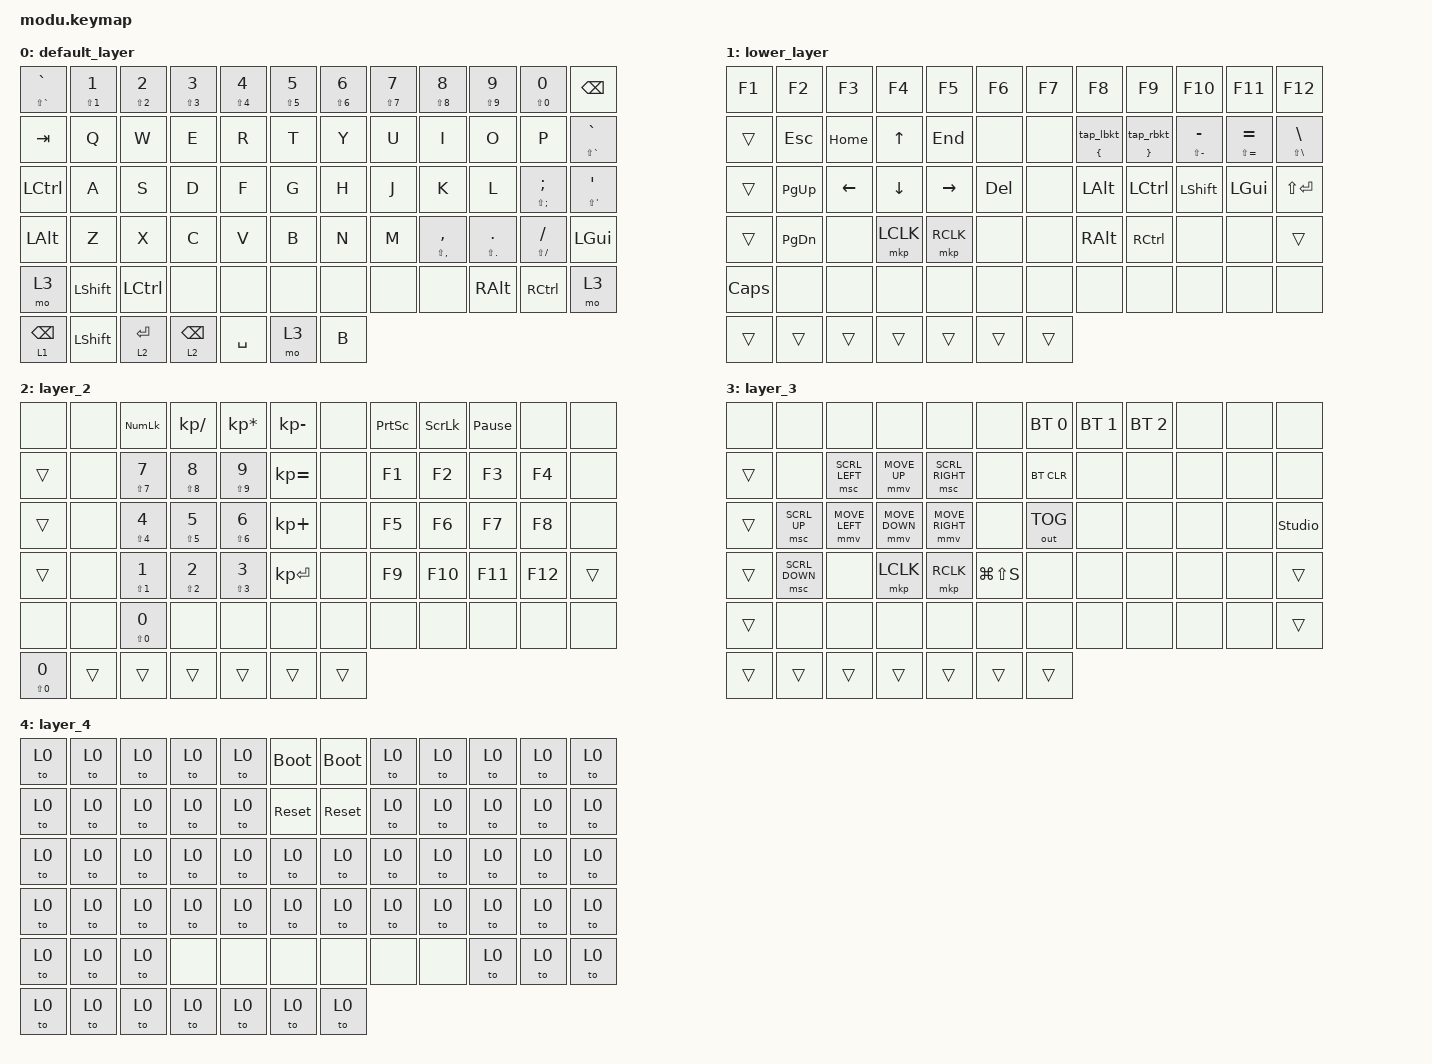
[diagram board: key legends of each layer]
/*
 * Copyright (c) 2026 EKS Inc.
 * Created by Ryu.
 * SPDX-License-Identifier: LicenseRef-EKS-NonCommercial-1.0
 *
 * Unofficial modification, based on upstream commit
 * bee0bb4b812f63f279eb67e928accc89600b5904 and customized through
 * Keymap Editor for GitHub Actions builds.
 */

/*
 ERT-Kim custom keymap
 layer 4 enterance --> upper_left + upper_right at layer 3
 Bootloader --> 5(left)/6(right) at layer 4
 Reset --> T(left)/Y(right) at layer 4
*/

#include <behaviors.dtsi>
#include <dt-bindings/zmk/bt.h>
#include <dt-bindings/zmk/keys.h>
#include <dt-bindings/zmk/pointing.h>
#include <dt-bindings/zmk/outputs.h>
#include "modu-layouts.dtsi"

/ {
    behaviors {
        // Tap side: 1 tap = [ , 2 taps = ( (220 ms double-tap window)
        tap_lbkt: tap_lbkt {
            compatible = "zmk,behavior-tap-dance";
            #binding-cells = <0>;
            tapping-term-ms = <240>;
            bindings = <&kp LBKT>, <&kp LPAR>;
        };

        tap_rbkt: tap_rbkt {
            compatible = "zmk,behavior-tap-dance";
            #binding-cells = <0>;
            tapping-term-ms = <240>;
            bindings = <&kp RBKT>, <&kp RPAR>;
        };

        // Auto-shift: tap = key, hold 190 ms = shifted key.
        // Used as "&as LS(N1) N1" - hold param first, tap param second.
        as: auto_shift {
            compatible = "zmk,behavior-hold-tap";
            #binding-cells = <2>;
            flavor = "tap-preferred";
            tapping-term-ms = <190>;
            bindings = <&kp>, <&kp>;
        };

        // Outer: hold 190 ms = { / } , otherwise hand off to the tap-dance above.
        // Used as "&td_lbrc LBRC 0" - the 0 is a dummy param for the 0-cell tap-dance.
        td_lbrc: td_lbrc {
            compatible = "zmk,behavior-hold-tap";
            #binding-cells = <2>;
            flavor = "tap-preferred";
            tapping-term-ms = <190>;
            bindings = <&kp>, <&tap_lbkt>;
        };

        td_rbrc: td_rbrc {
            compatible = "zmk,behavior-hold-tap";
            #binding-cells = <2>;
            flavor = "tap-preferred";
            tapping-term-ms = <190>;
            bindings = <&kp>, <&tap_rbkt>;
        };
    };

    combos {
        compatible = "zmk,combos";

        // Default layer only: M + , together = Hangul/English toggle.
        lang1 {
            bindings = <&kp LANG1>;
            key-positions = <43 44>;
            layers = <0>;
            timeout-ms = <40>;
        };

        // Layer 3 only: both top corners together latch the system layer.
        sys_layer {
            bindings = <&to 4>;
            key-positions = <0 11>;
            layers = <3>;
            timeout-ms = <100>;
        };
    };

    keymap {
        compatible = "zmk,keymap";

        // Comment grid notation:
        //   TRAN = &trans      ---- = &none
        //   TDL = &td_lbrc   TDR = &td_rbrc      MO(n) / LT(n,KEY) = &mo n / &lt n KEY
        //   BOOT = &bootloader   RST = &sys_reset
        //   STU  = &studio_unlock   OTOG = &out OUT_TOG   TO0 = &to 0
        //   NLCK = KP_NUM   NENT = KP_ENTER   SENT = LS(RET)   PSCR = PSCRN   SLCK = SLCK   PAUS = PAUSE_BREAK
        //   Num/ Num* Num- Num+ = KP_DIVIDE / KP_MULTIPLY / KP_MINUS / KP_PLUS; digits on layer_2 are the number-row N0-N9
        //   BT0/BT1/BT2 = &bt BT_SEL 0/1/2   BTCL = &bt BT_CLR   SNIP = &kp LG(LS(S))
        //   MsUp/MsDn/MsLt/MsRt = &mmv MOVE_*   WhUp/WhDn/WhLt/WhRt = &msc SCRL_*
        //   *X   = &as LS(X) X  (auto-shift: tap X, hold 190 ms for shifted X)
        //   Row 5 centre gap  = indices 51-56, always &none (no physical key)

        default_layer {
            //   0    1    2    3    4    5        6    7    8    9    10   11
            // -----------------------------------------------------------------
            // |*`  |*1  |*2  |*3  |*4  |*5  |   |*6  |*7  |*8  |*9  |*0  |BKSP|
            // |TAB | Q  | W  | E  | R  | T  |   | Y  | U  | I  | O  | P  |*`  |
            // |LCTL| A  | S  | D  | F  | G  |   | H  | J  | K  | L  |*;  |*'  |
            // |LALT| Z  | X  | C  | V  | B  |   | N  | M  |*,  |*.  |*/  |LGUI|
            // |MO3 |LSFT|LCTL|                                 |RALT|RCTL|MO3 |
            //          |LT(1,BKSP)|LSFT|LT(2,ENTR)|   |LT(2,BKSP)|SPC |MO3| B  |
            //
            // TD | name     | tap | hold 190ms | double-tap <220ms
            // TDL| td_lbrc  |  [  |     {      |        (
            // TDR| td_rbrc  |  ]  |     }      |        )

            bindings = <
&as LS(GRAVE) GRAVE  &as LS(N1) N1  &as LS(N2) N2  &as LS(N3) N3  &as LS(N4) N4  &as LS(N5) N5  &as LS(N6) N6  &as LS(N7) N7  &as LS(N8) N8        &as LS(N9) N9    &as LS(N0) N0      &kp BSPC
&kp TAB              &kp Q          &kp W          &kp E          &kp R          &kp T          &kp Y          &kp U          &kp I                &kp O            &kp P              &as LS(GRAVE) GRAVE
&kp LCTRL            &kp A          &kp S          &kp D          &kp F          &kp G          &kp H          &kp J          &kp K                &kp L            &as LS(SEMI) SEMI  &as LS(SQT) SQT
&kp LALT             &kp Z          &kp X          &kp C          &kp V          &kp B          &kp N          &kp M          &as LS(COMMA) COMMA  &as LS(DOT) DOT  &as LS(FSLH) FSLH  &kp LGUI
&mo 3                &kp LSHFT      &kp LCTRL      &none          &none          &none          &none          &none          &none                &kp RALT         &kp RCTRL          &mo 3
&lt 1 BSPC  &kp LSHFT  &lt 2 RET  &lt 2 BSPC  &kp SPACE  &mo 3  &kp B
            >;
        };

        lower_layer {
            //   0    1    2    3    4    5        6    7    8    9    10   11
            // -----------------------------------------------------------------
            // |F1  |F2  |F3  |F4  |F5  |F6  |   |F7  |F8  |F9  |F10 |F11 |F12 |
            // |TRAN|ESC |HOME|up  |END |----|   |----|TDL |TDR | *- | *= | *\ |
            // |TRAN|PGUP|left|down|rigt|DEL |   |----|LALT|LCTL|LSFT|LGUI|SENT|
            // |TRAN|PGDN|----|LCLK|RCLK|----|   |----|RALT|RCTL|----|----|TRAN|
            // |CAPS|----|----|                                 |----|----|----|
            //          |TRAN|TRAN|TRAN|   |TRAN|TRAN|TRAN|TRAN|

            bindings = <
&kp F1    &kp F2     &kp F3    &kp F4     &kp F5     &kp F6   &kp F7  &kp F8           &kp F9           &kp F10              &kp F11              &kp F12
&trans    &kp ESC    &kp HOME  &kp UP     &kp END    &none    &none   &td_lbrc LBRC 0  &td_rbrc RBRC 0  &as LS(MINUS) MINUS  &as LS(EQUAL) EQUAL  &as LS(BSLH) BSLH
&trans    &kp PG_UP  &kp LEFT  &kp DOWN   &kp RIGHT  &kp DEL  &none   &kp LALT         &kp LCTRL        &kp LSHFT            &kp LGUI             &kp LS(RET)
&trans    &kp PG_DN  &none     &mkp LCLK  &mkp RCLK  &none    &none   &kp RALT         &kp RCTRL        &none                &none                &trans
&kp CAPS  &none      &none     &none      &none      &none    &none   &none            &none            &none                &none                &none
&trans  &trans  &trans  &trans  &trans  &trans  &trans
            >;
        };

        layer_2 {
            //   0    1    2    3    4    5        6    7    8    9    10   11
            // -----------------------------------------------------------------
            // |----|----|NLCK|Num/|Num*|Num-|   |----|PSCR|SLCK|PAUS|----|----|
            // |TRAN|----|*7  |*8  |*9  |Num=|   |----|F1  |F2  |F3  |F4  |----|
            // |TRAN|----|*4  |*5  |*6  |Num+|   |----|F5  |F6  |F7  |F8  |----|
            // |TRAN|----|*1  |*2  |*3  |NENT|   |----|F9  |F10 |F11 |F12 |TRAN|
            // |----|----|*0  |                                 |----|----|----|
            //          |*0  |TRAN|TRAN|   |TRAN|TRAN|TRAN|TRAN|

            bindings = <
&none   &none  &kp KP_NUM     &kp KP_DIVIDE  &kp KP_MULTIPLY  &kp KP_MINUS  &none  &kp PSCRN  &kp SLCK  &kp PAUSE_BREAK  &none    &none
&trans  &none  &as LS(N7) N7  &as LS(N8) N8  &as LS(N9) N9    &kp KP_EQUAL  &none  &kp F1     &kp F2    &kp F3           &kp F4   &none
&trans  &none  &as LS(N4) N4  &as LS(N5) N5  &as LS(N6) N6    &kp KP_PLUS   &none  &kp F5     &kp F6    &kp F7           &kp F8   &none
&trans  &none  &as LS(N1) N1  &as LS(N2) N2  &as LS(N3) N3    &kp KP_ENTER  &none  &kp F9     &kp F10   &kp F11          &kp F12  &trans
&none   &none  &as LS(N0) N0  &none          &none            &none         &none  &none      &none     &none            &none    &none
&as LS(N0) N0  &trans  &trans  &trans  &trans  &trans  &trans
            >;
        };

        layer_3 {
            //   0    1    2    3    4    5        6    7    8    9    10   11
            // -----------------------------------------------------------------
            // |----|----|----|----|----|----|   |BT0 |BT1 |BT2 |----|----|----|
            // |TRAN|----|WhLt|MsUp|WhRt|----|   |BTCL|----|----|----|----|----|
            // |TRAN|WhUp|MsLt|MsDn|MsRt|----|   |OTOG|----|----|----|----|STU |
            // |TRAN|WhDn|----|LCLK|RCLK|SNIP|   |----|----|----|----|----|TRAN|
            // |TRAN|----|----|                                 |----|----|TRAN|
            //          |TRAN|TRAN|TRAN|   |TRAN|TRAN|TRAN|TRAN|

            bindings = <
&none   &none           &none           &none           &none            &none          &bt BT_SEL 0  &bt BT_SEL 1  &bt BT_SEL 2  &none  &none  &none
&trans  &none           &msc SCRL_LEFT  &mmv MOVE_UP    &msc SCRL_RIGHT  &none          &bt BT_CLR    &none         &none         &none  &none  &none
&trans  &msc SCRL_UP    &mmv MOVE_LEFT  &mmv MOVE_DOWN  &mmv MOVE_RIGHT  &none          &out OUT_TOG  &none         &none         &none  &none  &studio_unlock
&trans  &msc SCRL_DOWN  &none           &mkp LCLK       &mkp RCLK        &kp LG(LS(S))  &none         &none         &none         &none  &none  &trans
&trans  &none           &none           &none           &none            &none          &none         &none         &none         &none  &none  &trans
&trans  &trans  &trans  &trans  &trans  &trans  &trans
            >;
        };

        layer_4 {
            //   0    1    2    3    4    5        6    7    8    9    10   11
            // -----------------------------------------------------------------
            // |TO0 |TO0 |TO0 |TO0 |TO0 |BOOT|   |BOOT|TO0 |TO0 |TO0 |TO0 |TO0 |
            // |TO0 |TO0 |TO0 |TO0 |TO0 |RST |   |RST |TO0 |TO0 |TO0 |TO0 |TO0 |
            // |TO0 |TO0 |TO0 |TO0 |TO0 |TO0 |   |TO0 |TO0 |TO0 |TO0 |TO0 |TO0 |
            // |TO0 |TO0 |TO0 |TO0 |TO0 |TO0 |   |TO0 |TO0 |TO0 |TO0 |TO0 |TO0 |
            // |TO0 |TO0 |TO0 |                                 |TO0 |TO0 |TO0 |
            //          |TO0 |TO0 |TO0 |   |TO0 |TO0 |TO0 |TO0 |

            bindings = <
&to 0  &to 0  &to 0  &to 0  &to 0  &bootloader  &bootloader  &to 0  &to 0  &to 0  &to 0  &to 0
&to 0  &to 0  &to 0  &to 0  &to 0  &sys_reset   &sys_reset   &to 0  &to 0  &to 0  &to 0  &to 0
&to 0  &to 0  &to 0  &to 0  &to 0  &to 0        &to 0        &to 0  &to 0  &to 0  &to 0  &to 0
&to 0  &to 0  &to 0  &to 0  &to 0  &to 0        &to 0        &to 0  &to 0  &to 0  &to 0  &to 0
&to 0  &to 0  &to 0  &none  &none  &none        &none        &none  &none  &to 0  &to 0  &to 0
&to 0  &to 0  &to 0  &to 0  &to 0  &to 0  &to 0
            >;
        };
    };
};

/* Global hold-tap tuning for the built-in &mt / &lt nodes only.
 * Does NOT affect td_lbrc / td_rbrc / tap_lbkt / tap_rbkt, which are
 * separate nodes carrying their own 160 ms terms. */
&mt {
    tapping-term-ms = <180>;
    flavor = "balanced";
};

&lt {
    tapping-term-ms = <180>;
    flavor = "balanced";
};
